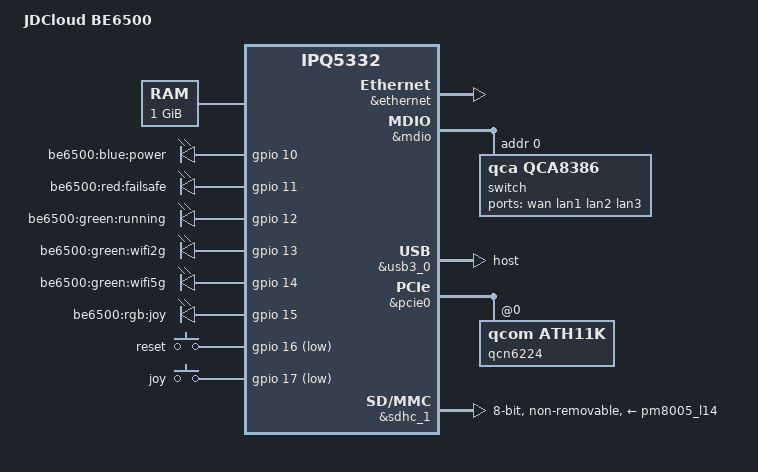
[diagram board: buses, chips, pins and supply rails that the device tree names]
/dts-v1/;
#include <dt-bindings/clock/qcom,gcc-ipq5332.h>
#include <dt-bindings/gpio/gpio.h>
#include <dt-bindings/usb/otg.h>
#include <dt-bindings/reset/qcom,reset.h>
#include <dt-bindings/interrupt-controller/arm-gic.h>
#include "qcom-ipq5332.dtsi"  // IPQ5332通用配置

/ {
    compatible = "qcom,ipq5332", "qcom,ipq53xx", "jdcloud,be6500";
    model = "JDCloud BE6500";

    chosen {
        bootargs = "console=ttyMSM0,115200n8 rootwait";
    };

    memory {
        reg = <0x0 0x40000000>;  // 1GB DDR4
    };

    aliases {
        serial0 = &uart0;
        led-boot = &led_power;
        led-failsafe = &led_failsafe;
        led-running = &led_running;
        led-wifi2g = &led_wifi2g;
        led-wifi5g = &led_wifi5g;
    };

    // LED配置
    leds {
        compatible = "gpio-leds";

        led_power: power {
            label = "be6500:blue:power";
            gpios = <&gpio 10 GPIO_ACTIVE_HIGH>;  // 需根据原理图调整
            default-state = "on";
        };

        led_failsafe: failsafe {
            label = "be6500:red:failsafe";
            gpios = <&gpio 11 GPIO_ACTIVE_HIGH>;
            default-state = "off";
        };

        led_running: running {
            label = "be6500:green:running";
            gpios = <&gpio 12 GPIO_ACTIVE_HIGH>;
            default-state = "off";
        };

        led_wifi2g: wifi2g {
            label = "be6500:green:wifi2g";
            gpios = <&gpio 13 GPIO_ACTIVE_HIGH>;
            default-state = "off";
        };

        led_wifi5g: wifi5g {
            label = "be6500:green:wifi5g";
            gpios = <&gpio 14 GPIO_ACTIVE_HIGH>;
            default-state = "off";
        };

        // Joy按键灯光控制
        led_joy: joy {
            label = "be6500:rgb:joy";
            gpios = <&gpio 15 GPIO_ACTIVE_HIGH>;  // RGB控制引脚
            default-state = "off";
        };
    };

    // 按键配置
    keys {
        compatible = "gpio-keys";

        reset {
            label = "reset";
            gpios = <&gpio 16 GPIO_ACTIVE_LOW>;  // 复位键引脚
            linux,code = <KEY_RESTART>;
            debounce-interval = <200>;
        };

        joy {
            label = "joy";
            gpios = <&gpio 17 GPIO_ACTIVE_LOW>;  // Joy按键引脚
            linux,code = <KEY_PROG1>;
            debounce-interval = <200>;
        };
    };

    // 以太网控制器配置
    &ethernet {
        status = "okay";
        qcom,eth-link-mode = <2>;  // 2.5G模式
    };

    // MDIO总线配置（连接QCA8386交换机）
    &mdio {
        status = "okay";

        switch@0 {
            compatible = "qca,qca8386";
            reg = <0>;
            qca,ports = <4>;  // 4个物理端口
            qca,switch-mode = <2>;  // 2.5G模式

            ports {
                #address-cells = <1>;
                #size-cells = <0>;

                port@0 {  // WAN口
                    reg = <0>;
                    label = "wan";
                    phy-handle = <&switch_port0>;
                    phy-mode = "rgmii";
                };

                port@1 {  // LAN1
                    reg = <1>;
                    label = "lan1";
                    phy-handle = <&switch_port1>;
                    phy-mode = "rgmii";
                };

                port@2 {  // LAN2
                    reg = <2>;
                    label = "lan2";
                    phy-handle = <&switch_port2>;
                    phy-mode = "rgmii";
                };

                port@3 {  // LAN3
                    reg = <3>;
                    label = "lan3";
                    phy-handle = <&switch_port3>;
                    phy-mode = "rgmii";
                };
            };
        };
    };

    // QCA8386交换机端口引用
    &qca8386 {
        switch_port0: port@0 { reg = <0>; };
        switch_port1: port@1 { reg = <1>; };
        switch_port2: port@2 { reg = <2>; };
        switch_port3: port@3 { reg = <3>; };
    };

    // USB3.0控制器
    &usb3_0 {
        status = "okay";
        dr_mode = "host";
    };

    // 2.4G Wi-Fi（IPQ5332集成）
    &wifi0 {
        status = "okay";
        compatible = "qcom,ath10k";
        reg = <0>;
        interrupts = <GIC_SPI 125 IRQ_TYPE_LEVEL_HIGH>;
        qcom,ath10k-calibration-data = <&art 0x1000 0x1000>;  // 校准数据位置
    };

    // 5G Wi-Fi（QCN6224）
    &pcie0 {
        status = "okay";

        qcn6224: wifi@0,0 {
            compatible = "qcom,ath11k";
            reg = <0 0 0 0 0>;
            interrupts = <GIC_SPI 123 IRQ_TYPE_LEVEL_HIGH>;
            qcom,ath11k-calibration-data = <&art 0x2000 0x2000>;  // 校准数据位置

            // FEM控制（QPF4559 PA）
            qcom,ath11k-fem {
                tx-enable-gpios = <&gpio 20 GPIO_ACTIVE_HIGH>;  // PA使能引脚
                rx-enable-gpios = <&gpio 21 GPIO_ACTIVE_HIGH>;  // LNA使能引脚
                ant-gpios = <&gpio 22 GPIO_ACTIVE_HIGH>;  // 天线切换引脚
            };
        };
    };

    // eMMC存储
    &sdhc_1 {
        status = "okay";
        non-removable;
        vmmc-supply = <&pm8005_l14>;  // 电源供应
        bus-width = <8>;  // 8位总线
        cap-mmc-highspeed;
        cap-sd-highspeed;
        mmc-hs200-1_8v;
        disable-wp;
    };
};
